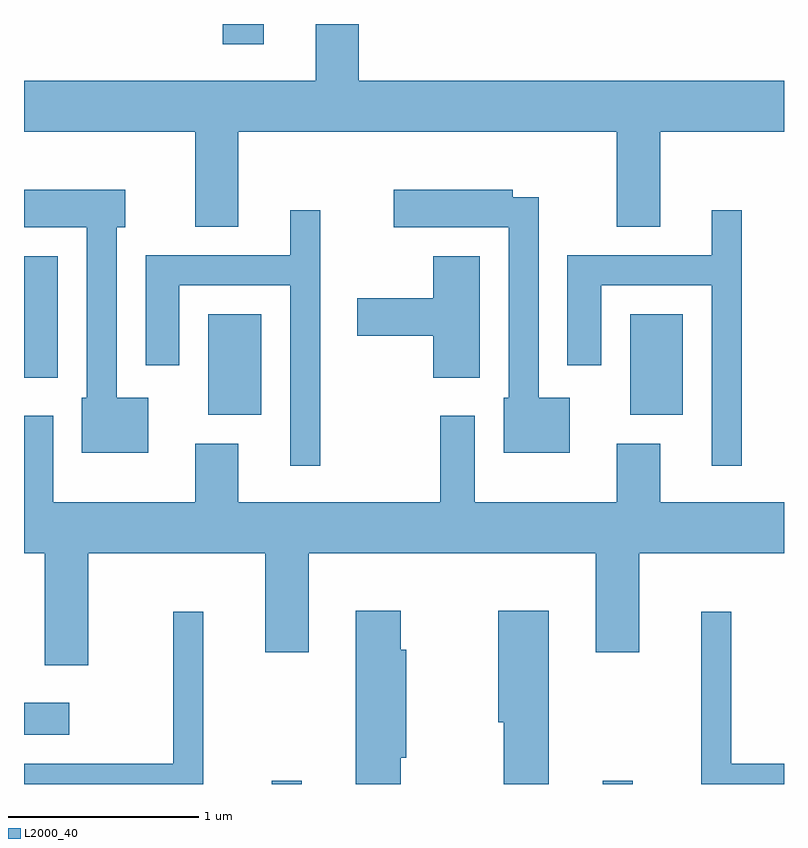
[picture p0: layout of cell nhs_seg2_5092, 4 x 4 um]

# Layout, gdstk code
import gdstk
lib = gdstk.Library(unit=1e-6, precision=1e-09)
def R(c, l, rs):  # rectangles x0, y0, x1, y1
    for r in rs: c.add(gdstk.rectangle(r[:2], r[2:], *l))
def P(c, l, *ps):  # polygons
    for p in ps: c.add(gdstk.Polygon(p, *l))
L2000_40 = (2000, 40)

nhs_seg2_5092 = lib.new_cell('nhs_seg2_5092')
R(nhs_seg2_5092, L2000_40, [(336.916,1013.802,337.074,1013.818), (338.656,1013.802,338.814,1013.818), (335.611,1014.061,335.848,1014.229), (336.581,1015.746,336.859,1016.274), (338.801,1015.746,339.079,1016.274), (335.611,1015.941,335.789,1016.579), (336.656,1017.696,336.874,1017.802)])
P(nhs_seg2_5092, L2000_40, [(335.611,1017.236),(336.511,1017.236),(336.511,1016.736),(336.739,1016.736),(336.739,1017.236),(338.731,1017.236),(338.731,1016.736),(338.959,1016.736),(338.959,1017.236),(339.611,1017.236),(339.611,1017.504),(337.374,1017.504),(337.374,1017.802),(337.146,1017.802),(337.146,1017.504),(335.611,1017.504)],
  [(336.264,1015.834),(336.099,1015.834),(336.099,1016.731),(336.144,1016.731),(336.144,1016.929),(335.611,1016.929),(335.611,1016.731),(335.941,1016.731),(335.941,1015.834),(335.916,1015.834),(335.916,1015.546),(336.264,1015.546)],
  [(338.484,1015.834),(338.319,1015.834),(338.319,1016.889),(338.184,1016.889),(338.184,1016.929),(337.556,1016.929),(337.556,1016.731),(338.161,1016.731),(338.161,1015.834),(338.136,1015.834),(338.136,1015.546),(338.484,1015.546)],
  [(337.169,1016.823),(337.011,1016.823),(337.011,1016.584),(336.251,1016.584),(336.251,1016.006),(336.429,1016.006),(336.429,1016.426),(337.011,1016.426),(337.011,1015.478),(337.169,1015.478)],
  [(339.389,1016.823),(339.231,1016.823),(339.231,1016.584),(338.471,1016.584),(338.471,1016.006),(338.649,1016.006),(338.649,1016.426),(339.231,1016.426),(339.231,1015.478),(339.389,1015.478)],
  [(338.009,1016.579),(337.766,1016.579),(337.766,1016.359),(337.366,1016.359),(337.366,1016.161),(337.766,1016.161),(337.766,1015.941),(338.009,1015.941)],
  [(335.949,1015.016),(336.881,1015.016),(336.881,1014.496),(337.109,1014.496),(337.109,1015.016),(338.621,1015.016),(338.621,1014.496),(338.849,1014.496),(338.849,1015.016),(339.611,1015.016),(339.611,1015.284),(338.959,1015.284),(338.959,1015.594),(338.731,1015.594),(338.731,1015.284),(337.984,1015.284),(337.984,1015.739),(337.801,1015.739),(337.801,1015.284),(336.739,1015.284),(336.739,1015.594),(336.511,1015.594),(336.511,1015.284),(335.764,1015.284),(335.764,1015.739),(335.611,1015.739),(335.611,1015.016),(335.721,1015.016),(335.721,1014.426),(335.949,1014.426)],
  [(338.374,1014.714),(338.106,1014.714),(338.106,1014.126),(338.136,1014.126),(338.136,1013.802),(338.374,1013.802)],
  [(337.594,1013.941),(337.624,1013.941),(337.624,1014.509),(337.594,1014.509),(337.594,1014.714),(337.356,1014.714),(337.356,1013.802),(337.594,1013.802)],
  [(339.611,1013.909),(339.334,1013.909),(339.334,1014.708),(339.176,1014.708),(339.176,1013.802),(339.611,1013.802)],
  [(336.554,1014.708),(336.396,1014.708),(336.396,1013.909),(335.611,1013.909),(335.611,1013.802),(336.554,1013.802)])

lib.write_gds('nhs_seg2_5092.gds')
